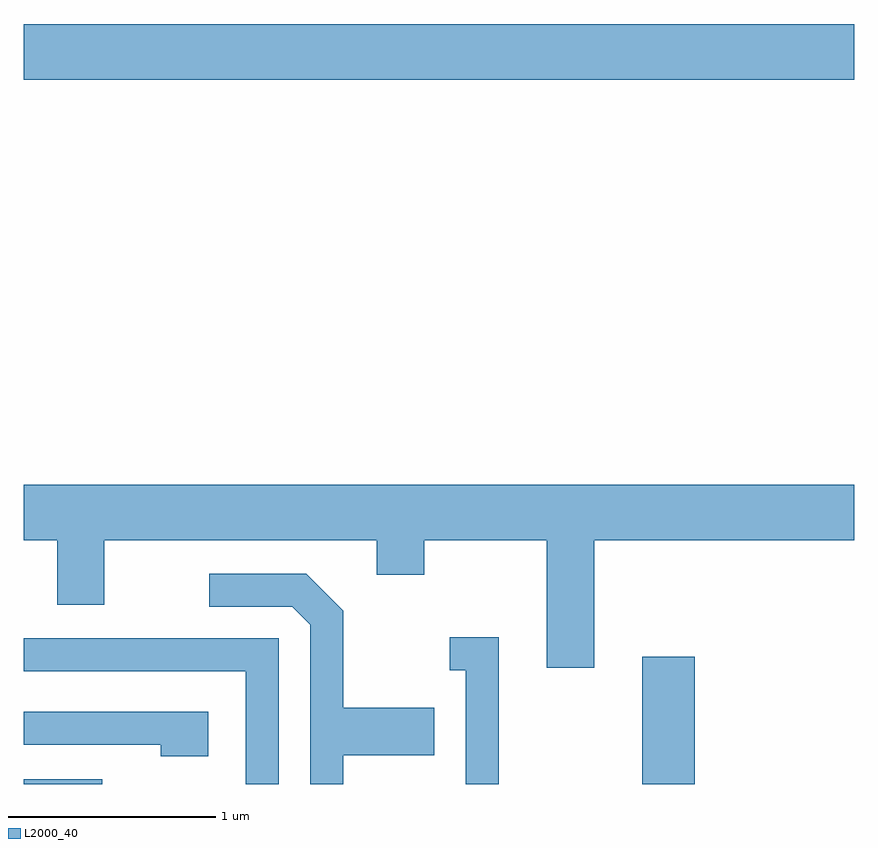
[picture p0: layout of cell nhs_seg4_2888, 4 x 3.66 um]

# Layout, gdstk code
import gdstk
lib = gdstk.Library(unit=1e-6, precision=1e-09)
def R(c, l, rs):  # rectangles x0, y0, x1, y1
    for r in rs: c.add(gdstk.rectangle(r[:2], r[2:], *l))
def P(c, l, *ps):  # polygons
    for p in ps: c.add(gdstk.Polygon(p, *l))
L2000_40 = (2000, 40)

nhs_seg4_2888 = lib.new_cell('nhs_seg4_2888')
R(nhs_seg4_2888, L2000_40, [(269.611,1317.982,269.988,1318.004), (272.591,1317.982,272.844,1318.594), (269.611,1321.376,273.611,1321.644)])
P(nhs_seg4_2888, L2000_40, [(272.359,1319.156),(273.611,1319.156),(273.611,1319.424),(269.611,1319.424),(269.611,1319.156),(269.771,1319.156),(269.771,1318.846),(269.999,1318.846),(269.999,1319.156),(271.311,1319.156),(271.311,1318.991),(271.539,1318.991),(271.539,1319.156),(272.131,1319.156),(272.131,1318.541),(272.359,1318.541)],
  [(271.149,1318.121),(271.589,1318.121),(271.589,1318.349),(271.149,1318.349),(271.149,1318.817),(270.972,1318.994),(270.503,1318.994),(270.503,1318.836),(270.904,1318.836),(270.991,1318.749),(270.991,1317.982),(271.149,1317.982)],
  [(271.899,1318.689),(271.663,1318.689),(271.663,1318.531),(271.741,1318.531),(271.741,1317.982),(271.899,1317.982)],
  [(270.839,1318.684),(269.611,1318.684),(269.611,1318.526),(270.681,1318.526),(270.681,1317.982),(270.839,1317.982)],
  [(270.499,1318.329),(269.611,1318.329),(269.611,1318.171),(270.271,1318.171),(270.271,1318.116),(270.499,1318.116)])

lib.write_gds('nhs_seg4_2888.gds')
